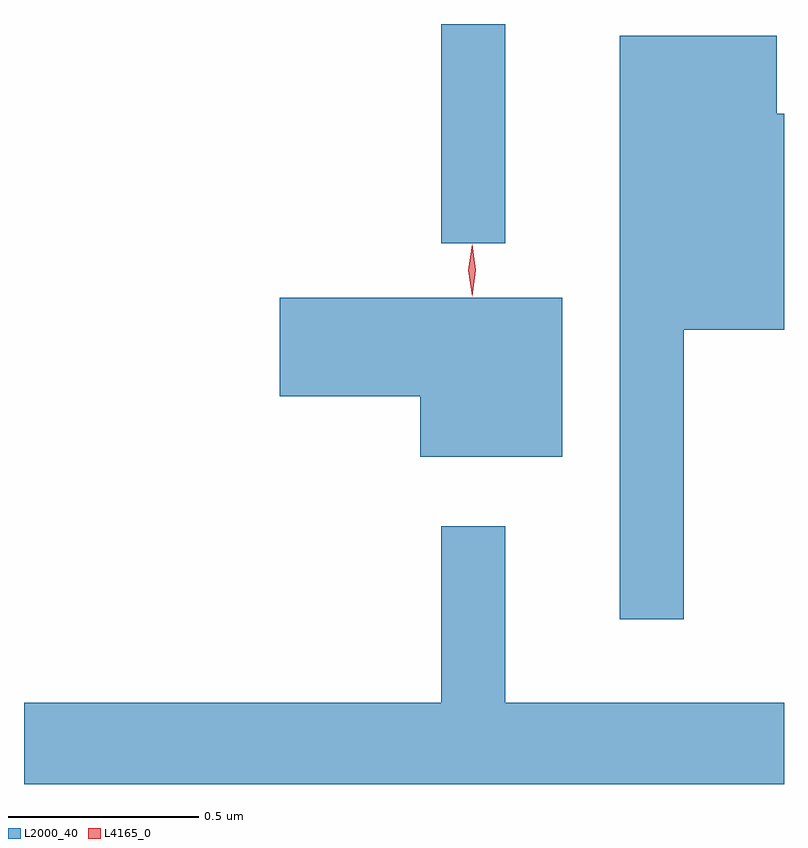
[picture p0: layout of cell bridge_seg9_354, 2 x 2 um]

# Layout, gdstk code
import gdstk
lib = gdstk.Library(unit=1e-6, precision=1e-09)
def R(c, l, rs):  # rectangles x0, y0, x1, y1
    for r in rs: c.add(gdstk.rectangle(r[:2], r[2:], *l))
def P(c, l, *ps):  # polygons
    for p in ps: c.add(gdstk.Polygon(p, *l))
L2000_40 = (2000, 40)
L4165_0 = (4165, 0)

bridge_seg9_354 = lib.new_cell('bridge_seg9_354')
R(bridge_seg9_354, L2000_40, [(758.141,2024.373,758.309,2024.95)])
P(bridge_seg9_354, L2000_40, [(758.779,2024.146),(759.043,2024.146),(759.043,2024.714),(759.024,2024.714),(759.024,2024.919),(758.611,2024.919),(758.611,2023.383),(758.779,2023.383)],
  [(758.459,2024.229),(757.716,2024.229),(757.716,2023.971),(758.086,2023.971),(758.086,2023.811),(758.459,2023.811)],
  [(757.043,2022.95),(759.043,2022.95),(759.043,2023.164),(758.309,2023.164),(758.309,2023.628),(758.141,2023.628),(758.141,2023.164),(757.043,2023.164)])
P(bridge_seg9_354, L4165_0, [(758.222,2024.24),(758.222,2024.24),(758.212,2024.303),(758.222,2024.366),(758.222,2024.367),(758.223,2024.366),(758.232,2024.303),(758.223,2024.24)],
  [(758.222,2024.234),(758.222,2024.234),(758.212,2024.302),(758.222,2024.37),(758.222,2024.37),(758.223,2024.37),(758.232,2024.302),(758.223,2024.234)])

lib.write_gds('bridge_seg9_354.gds')
